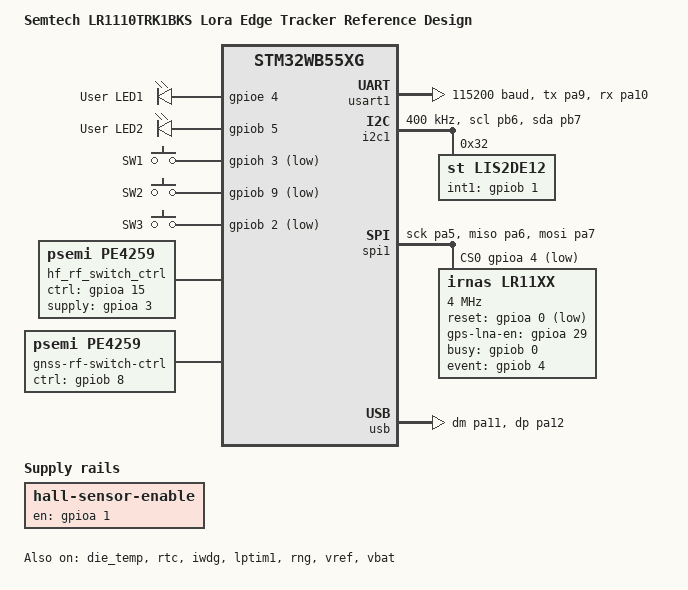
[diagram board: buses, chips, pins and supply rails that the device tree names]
/dts-v1/;
#include <st/wb/stm32wb55Xg.dtsi>
#include <st/wb/stm32wb55cgux-pinctrl.dtsi>
#include <zephyr/dt-bindings/input/input-event-codes.h>
#include <lr11xx_bindings_def.h>

/ {
	model = "Semtech LR1110TRK1BKS Lora Edge Tracker Reference Design";
	compatible = "semtech,lr1110trk1bks";

	chosen {
		zephyr,console = &usart1;
		zephyr,shell-uart = &usart1;
		zephyr,sram = &sram0;
		zephyr,flash = &flash0;
		zephyr,code-partition = &slot0_partition;
	};

	leds: leds {
		compatible = "gpio-leds";
		yellow_led_1: led_0 {
			gpios = <&gpioe 4 GPIO_ACTIVE_HIGH>;
			label = "User LED1";
		};
		red_led_2: led_1 {
			gpios = <&gpiob 5 GPIO_ACTIVE_HIGH>;
			label = "User LED2";
		};
	};

	gpio_keys {
		compatible = "gpio-keys";
		user_button_1: button_0 {
			label = "SW1";
			gpios = <&gpioh 3 (GPIO_ACTIVE_LOW | GPIO_PULL_UP)>;
			zephyr,code = <INPUT_KEY_0>;
		};
		user_button_2: button_1 {
			label = "SW2";
			gpios = <&gpiob 9 (GPIO_ACTIVE_LOW | GPIO_PULL_UP)>;
			zephyr,code = <INPUT_KEY_0>;
		};
		user_button_3: button_2 {
			label = "SW3";
			gpios = <&gpiob 2 (GPIO_ACTIVE_LOW | GPIO_PULL_UP)>;
			zephyr,code = <INPUT_KEY_0>;
		};
	};

	aliases {
		led0 = &red_led_2;
		sw0 = &user_button_1;
		sw1 = &user_button_2;
		sw2 = &user_button_3;
		watchdog0 = &iwdg;
		die-temp0 = &die_temp;
		volt-sensor0 = &vref;
		volt-sensor1 = &vbat;
	};

	/* Regulator controlling the hall sensor power supply. */
	hall-sensor-enable {
		compatible = "regulator-fixed";
		regulator-name = "hall-sensor-enable";
		enable-gpios = <&gpioa 1 GPIO_ACTIVE_HIGH>;
		regulator-boot-on;
	};

	/* Regulator controlling the HF switch power supply. */
	/* hf_rf_switch_enable: hf-rf-switch-enable {
		compatible = "regulator-fixed";
		regulator-name = "hf-rf-switch-enable";
		enable-gpios = <&gpioa 3 GPIO_ACTIVE_HIGH>;
		regulator-boot-on;
	}; */

	/* Control the HF switch RF path. */
	hf_rf_switch_ctrl: hf-rf-switch-ctrl {
		compatible = "psemi,pe4259";
		ctrl-gpios = <&gpioa 15 GPIO_ACTIVE_HIGH>;
		supply-gpios = <&gpioa 3 GPIO_ACTIVE_HIGH>;
	};

	/* Select the PCB or patch antenna. */
	gnss-rf-switch-ctrl {
		compatible = "psemi,pe4259";
		ctrl-gpios = <&gpiob 8 GPIO_ACTIVE_HIGH>;
	};
};

&die_temp {
	status = "okay";
};

&clk_lsi1 {
	status = "okay";
};

&clk_hse {
	status = "okay";
};

&clk_lse {
	status = "okay";
};

&clk_hsi48 {
	status = "okay";
};

&clk48 {
	/* Node is disabled by default as default source is HSI48 */
	/* To select another clock, enable the node */
	clocks = <&rcc STM32_SRC_HSI48 CLK48_SEL(0)>;
};

&rcc {
	clocks = <&clk_hse>;
	clock-frequency = <DT_FREQ_M(32)>;
	cpu1-prescaler = <1>;
	cpu2-prescaler = <1>;
	ahb4-prescaler = <1>;
	apb1-prescaler = <1>;
	apb2-prescaler = <1>;
};

&usart1 {
	pinctrl-0 = <&usart1_tx_pa9 &usart1_rx_pa10>;
	pinctrl-names = "default";
	current-speed = <115200>;
	status = "okay";
};

&i2c1 {
	pinctrl-0 = <&i2c1_scl_pb6 &i2c1_sda_pb7>;
	pinctrl-names = "default";
	status = "okay";
	clock-frequency = <I2C_BITRATE_FAST>;

	lis2de12: lis2de12@32 {
		compatible = "st,lis2de12";
		reg = <0x32>;
		int1-gpios = <&gpiob 1 GPIO_ACTIVE_HIGH>;
	};
};

&rtc {
	clocks = <&rcc STM32_CLOCK_BUS_APB1 0x00000400>,
		 <&rcc STM32_SRC_LSI RTC_SEL(2)>;
	status = "okay";

	backup_regs {
		status = "okay";
	};
};

&spi1 {
	pinctrl-0 = <&spi1_sck_pa5 &spi1_miso_pa6 &spi1_mosi_pa7>;
	pinctrl-names = "default";
	status = "okay";

    	cs-gpios = <&gpioa 4 (GPIO_ACTIVE_LOW | GPIO_PULL_UP)>;
	lr11xx: lr11xx@0 {
        	compatible = "irnas,lr11xx";
        	reg = <0>;
        	spi-max-frequency = <4000000>;

        	reset-gpios = <&gpioa 0 GPIO_ACTIVE_LOW>;
        	gps-lna-en-gpios = <&gpioa 29 GPIO_ACTIVE_HIGH>;
        	busy-gpios = <&gpiob 0 GPIO_ACTIVE_HIGH>;
        	event-gpios = <&gpiob 4 (GPIO_ACTIVE_HIGH | GPIO_PULL_DOWN)>;

		lf-tx-path = <LR11XX_TX_PATH_LF_LP_HP>;

        	tcxo-supply = <LR11XX_TCXO_SUPPLY_1_8V>;
        	tcxo-wakeup-time = <5>;

        	lf-clk = <LR11XX_LFCLK_RC>;
        	reg-mode = <LR11XX_REG_MODE_DCDC>;

        	rf-sw-enable = <(LR11XX_DIO5 | LR11XX_DIO6 | LR11XX_DIO7)>;
        	rf-sw-rx-mode = <LR11XX_DIO5>;
        	rf-sw-tx-mode = <(LR11XX_DIO5 | LR11XX_DIO6)>;
        	rf-sw-tx-hp-mode = <LR11XX_DIO6>;
        	rf-sw-gnss-mode = <LR11XX_DIO7>;
	};
};

&iwdg {
	status = "okay";
};

&lptim1 {
	clocks = <&rcc STM32_CLOCK_BUS_APB1 0x80000000>,
		 <&rcc STM32_SRC_LSE LPTIM1_SEL(3)>;
	status = "okay";
};

zephyr_udc0: &usb {
	status = "okay";
	pinctrl-0 = <&usb_dm_pa11 &usb_dp_pa12>;
	pinctrl-names = "default";
};

&rng {
	status = "okay";
};

&flash0 {
	partitions {
		compatible = "fixed-partitions";
		#address-cells = <1>;
		#size-cells = <1>;

		/*
		 * Configure partitions while leaving space for M0 BLE f/w
		 * Since STM32WBCube release V1.13.2, only _HCIOnly_ f/w are supported.
		 * These FW are expected to be located not before 0x080DB000
		 * Current partition is using the first 876K of the flash for M4
		 */

		boot_partition: partition@0 {
			label = "mcuboot";
			reg = <0x00000000 DT_SIZE_K(48)>;
		};
		slot0_partition: partition@c000 {
			label = "image-0";
			reg = <0x0000c000 DT_SIZE_K(400)>;
		};
		slot1_partition: partition@70000 {
			label = "image-1";
			reg = <0x00070000 DT_SIZE_K(400)>;
		};
		scratch_partition: partition@d4000 {
			label = "image-scratch";
			reg = <0x000d4000 DT_SIZE_K(16)>;
		};
		storage_partition: partition@d8000 {
			label = "storage";
			reg = <0x000d8000 DT_SIZE_K(8)>;
		};

	};
};

&vref {
	status = "okay";
};

&vbat {
	status = "okay";
};
